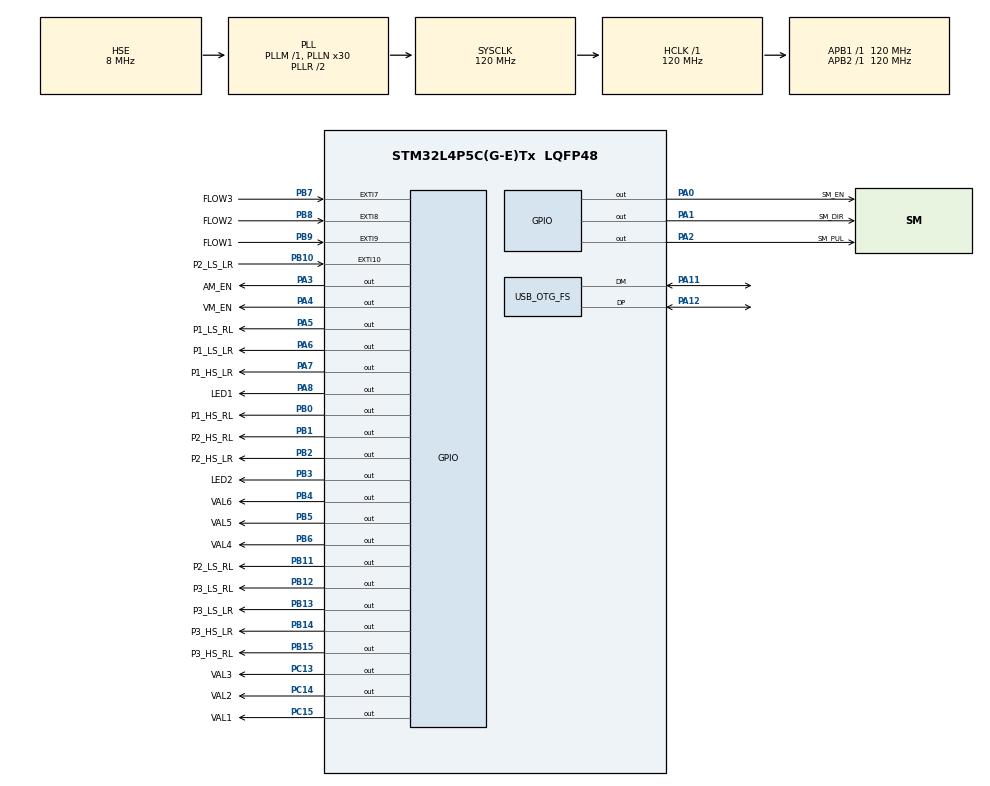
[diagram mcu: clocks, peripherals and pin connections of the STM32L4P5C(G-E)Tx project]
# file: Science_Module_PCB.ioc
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Mcu.Family=STM32L4
Mcu.Name=STM32L4P5C(G-E)Tx
Mcu.Package=LQFP48
NVIC.EXTI9_5_IRQn=true\:0\:0\:false\:false\:true\:true\:true\:true
NVIC.OTG_FS_IRQn=true\:0\:0\:false\:false\:true\:false\:true\:true
NVIC.PriorityGroup=NVIC_PRIORITYGROUP_4
NVIC.TIM6_DAC_IRQn=true\:0\:0\:false\:false\:true\:true\:true\:true
PA0.GPIO_Label=SM_EN
PA0.Signal=GPIO_Output
PA1.GPIO_Label=SM_DIR
PA1.Signal=GPIO_Output
PA11.Mode=Device_Only
PA11.Signal=USB_OTG_FS_DM
PA12.Mode=Device_Only
PA12.Signal=USB_OTG_FS_DP
PA13\ (JTMS/SWDIO).Mode=Serial_Wire
PA13\ (JTMS/SWDIO).Signal=SYS_JTMS-SWDIO
PA14\ (JTCK/SWCLK).Mode=Serial_Wire
PA14\ (JTCK/SWCLK).Signal=SYS_JTCK-SWCLK
PA2.GPIO_Label=SM_PUL
PA2.Signal=GPIO_Output
PA3.GPIO_Label=AM_EN
PA3.Signal=GPIO_Output
PA4.GPIO_Label=VM_EN
PA4.Signal=GPIO_Output
PA5.GPIO_Label=P1_LS_RL
PA5.Signal=GPIO_Output
PA6.GPIO_Label=P1_LS_LR
PA6.Signal=GPIO_Output
PA7.GPIO_Label=P1_HS_LR
PA7.Signal=GPIO_Output
PA8.GPIO_Label=LED1
PA8.Signal=GPIO_Output
PB0.GPIO_Label=P1_HS_RL
PB0.Signal=GPIO_Output
PB1.GPIO_Label=P2_HS_RL
PB1.Signal=GPIO_Output
PB10.GPIO_Label=P2_LS_LR
PB10.Signal=GPXTI10
PB11.GPIO_Label=P2_LS_RL
PB11.Signal=GPIO_Output
PB12.GPIO_Label=P3_LS_RL
PB12.Signal=GPIO_Output
PB13.GPIO_Label=P3_LS_LR
PB13.Signal=GPIO_Output
PB14.GPIO_Label=P3_HS_LR
PB14.Signal=GPIO_Output
PB15.GPIO_Label=P3_HS_RL
PB15.Signal=GPIO_Output
PB2.GPIO_Label=P2_HS_LR
PB2.Signal=GPIO_Output
PB3\ (JTDO/TRACESWO).GPIO_Label=LED2
PB3\ (JTDO/TRACESWO).Signal=GPIO_Output
PB4\ (NJTRST).GPIO_Label=VAL6
PB4\ (NJTRST).Signal=GPIO_Output
PB5.GPIO_Label=VAL5
PB5.Signal=GPIO_Output
PB6.GPIO_Label=VAL4
PB6.Signal=GPIO_Output
PB7.GPIO_Label=FLOW3
PB7.GPIO_ModeDefaultEXTI=GPIO_MODE_IT_RISING_FALLING
PB7.GPIO_PuPd=GPIO_PULLDOWN
PB7.Signal=GPXTI7
PB8.GPIO_Label=FLOW2
PB8.GPIO_ModeDefaultEXTI=GPIO_MODE_IT_RISING_FALLING
PB8.GPIO_PuPd=GPIO_PULLDOWN
PB8.Signal=GPXTI8
PB9.GPIO_Label=FLOW1
PB9.GPIO_ModeDefaultEXTI=GPIO_MODE_IT_RISING_FALLING
PB9.GPIO_PuPd=GPIO_PULLDOWN
PB9.Signal=GPXTI9
PC13.GPIO_Label=VAL3
PC13.Signal=GPIO_Output
PC14-OSC32_IN\ (PC14).GPIO_Label=VAL2
PC14-OSC32_IN\ (PC14).Signal=GPIO_Output
PC15-OSC32_OUT\ (PC15).GPIO_Label=VAL1
PC15-OSC32_OUT\ (PC15).Signal=GPIO_Output
PH0-OSC_IN\ (PH0).Mode=HSE-External-Oscillator
PH0-OSC_IN\ (PH0).Signal=RCC_OSC_IN
PH1-OSC_OUT\ (PH1).Mode=HSE-External-Oscillator
PH1-OSC_OUT\ (PH1).Signal=RCC_OSC_OUT
ProjectManager.HeapSize=0x200
ProjectManager.StackSize=0x400
ProjectManager.TargetToolchain=STM32CubeIDE
RCC.ADCFreq_Value=48000000
RCC.AHBFreq_Value=120000000
RCC.APB1Freq_Value=120000000
RCC.APB1TimFreq_Value=120000000
RCC.APB2Freq_Value=120000000
RCC.APB2TimFreq_Value=120000000
RCC.CortexFreq_Value=120000000
RCC.HCLKFreq_Value=120000000
RCC.HSE_VALUE=8000000
RCC.HSI48_VALUE=48000000
RCC.HSI_VALUE=16000000
RCC.LSE_VALUE=32768
RCC.MSI_VALUE=4000000
RCC.PLLN=30
RCC.PLLSAI1N=12
RCC.PLLSourceVirtual=RCC_PLLSOURCE_HSE
RCC.SYSCLKFreq_VALUE=120000000
RCC.SYSCLKSource=RCC_SYSCLKSOURCE_PLLCLK
RCC.USBFreq_Value=48000000
RCC.VCOOutputFreq_Value=240000000
TIM6.AutoReloadPreload=TIM_AUTORELOAD_PRELOAD_ENABLE
TIM6.Prescaler=119
USB_DEVICE.CLASS_NAME_FS=CDC
USB_DEVICE.VirtualMode=Cdc
USB_DEVICE.VirtualModeFS=Cdc_FS
USB_OTG_FS.VirtualMode=Device_Only
VP_TIM6_VS_ClockSourceINT.Mode=Enable_Timer
VP_USB_DEVICE_VS_USB_DEVICE_CDC_FS.Mode=CDC_FS
board=custom

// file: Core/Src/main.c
/* USER CODE BEGIN Header */
/**
  ******************************************************************************
  * @file           : main.c
  * @brief          : Main program body
  ******************************************************************************
  * @attention
  *
  * Copyright (c) 2025 STMicroelectronics.
  * All rights reserved.
  *
  * This software is licensed under terms that can be found in the LICENSE file
  * in the root directory of this software component.
  * If no LICENSE file comes with this software, it is provided AS-IS.
  *
  ******************************************************************************
  */
/* USER CODE END Header */
#include "main.h"
#include "usb_device.h"

/* USER CODE BEGIN Includes */
#include <stdio.h>
#include <stdlib.h>
#include <math.h>
#include <stdint.h>
#include "usb_device.h"
#include "usbd_cdc_if.h"
extern USBD_HandleTypeDef hUsbDeviceFS;

/* USER CODE END Includes */

/* USER CODE BEGIN PTD */
typedef struct {
  uint32_t pulse_duration;
  double flow_rate;
} flow_struct;

/* USER CODE END PTD */

/* USER CODE BEGIN PD */
#define NUM_PUMPS  3
/* USER CODE END PD */

TIM_HandleTypeDef htim6;

/* USER CODE BEGIN PV */
uint8_t LED1 = 0;
uint8_t LED2 = 0;
uint8_t Timer6_flag = 0;
uint32_t tim6_val = 0;
uint32_t tim6_overflow = 0;
uint32_t flow_start[3] = {0};

Pump_struct pump1, pump2, pump3;
flow_struct flow[3];
valve_struct valve[6];

/* USER CODE END PV */

void SystemClock_Config(void);
static void MX_GPIO_Init(void);
static void MX_TIM6_Init(void);
/* USER CODE BEGIN PFP */
// System functions
int _write(int,char*,int);
uint32_t Get_timer6_us(void);
static void DWT_DelayInit(void);
static inline void Delay_us(uint32_t);
// Pump
void PumpCtrl(void);
void PumpGPIO(uint8_t);
void BootstrapCharge(uint8_t, uint8_t);
void Pumpoff(uint8_t);
// Valve
void ValveCtrl(void);
void ValveGPIO(uint8_t, uint8_t);
// Flow sensor
void Readflow(void);
// Misc
void Update_LED(void);
void Timer6_test(void);

/* USER CODE END PFP */

int main(void)
{

  /* MCU Configuration--------------------------------------------------------*/

  /* Reset of all peripherals, Initializes the Flash interface and the Systick. */
  HAL_Init();

  /* Configure the system clock */
  SystemClock_Config();

  /* Initialize all configured peripherals */
  MX_GPIO_Init();
  MX_USB_DEVICE_Init();
  MX_TIM6_Init();
  /* USER CODE BEGIN 2 */
  DWT_DelayInit();
  HAL_Delay(1000);
  printf("> ");

  // begin timer6 ISR
  __HAL_TIM_CLEAR_FLAG(&htim6, TIM_FLAG_UPDATE);
  HAL_TIM_Base_Start_IT(&htim6);
  /* USER CODE END 2 */

  /* Infinite loop */
  /* USER CODE BEGIN WHILE */
  while (1)
  {

    Update_LED();
    PumpCtrl();
    ValveCtrl();
    Timer6_test();

    /* USER CODE END WHILE */

  }
}

void SystemClock_Config(void)
{
  RCC_OscInitTypeDef RCC_OscInitStruct = {0};
  RCC_ClkInitTypeDef RCC_ClkInitStruct = {0};

  /** Configure the main internal regulator output voltage
  */
  if (HAL_PWREx_ControlVoltageScaling(PWR_REGULATOR_VOLTAGE_SCALE1_BOOST) != HAL_OK)
  {
    Error_Handler();
  }

  /** Initializes the RCC Oscillators according to the specified parameters
  * in the RCC_OscInitTypeDef structure.
  */
  RCC_OscInitStruct.OscillatorType = RCC_OSCILLATORTYPE_HSE;
  RCC_OscInitStruct.HSEState = RCC_HSE_ON;
  RCC_OscInitStruct.PLL.PLLState = RCC_PLL_ON;
  RCC_OscInitStruct.PLL.PLLSource = RCC_PLLSOURCE_HSE;
  RCC_OscInitStruct.PLL.PLLM = 1;
  RCC_OscInitStruct.PLL.PLLN = 30;
  RCC_OscInitStruct.PLL.PLLP = RCC_PLLP_DIV2;
  RCC_OscInitStruct.PLL.PLLQ = RCC_PLLQ_DIV2;
  RCC_OscInitStruct.PLL.PLLR = RCC_PLLR_DIV2;
  if (HAL_RCC_OscConfig(&RCC_OscInitStruct) != HAL_OK)
  {
    Error_Handler();
  }

  /** Initializes the CPU, AHB and APB buses clocks
  */
  RCC_ClkInitStruct.ClockType = RCC_CLOCKTYPE_HCLK|RCC_CLOCKTYPE_SYSCLK
                              |RCC_CLOCKTYPE_PCLK1|RCC_CLOCKTYPE_PCLK2;
  RCC_ClkInitStruct.SYSCLKSource = RCC_SYSCLKSOURCE_PLLCLK;
  RCC_ClkInitStruct.AHBCLKDivider = RCC_SYSCLK_DIV1;
  RCC_ClkInitStruct.APB1CLKDivider = RCC_HCLK_DIV1;
  RCC_ClkInitStruct.APB2CLKDivider = RCC_HCLK_DIV1;

  if (HAL_RCC_ClockConfig(&RCC_ClkInitStruct, FLASH_LATENCY_5) != HAL_OK)
  {
    Error_Handler();
  }
}

static void MX_TIM6_Init(void)
{

  TIM_MasterConfigTypeDef sMasterConfig = {0};

  htim6.Instance = TIM6;
  htim6.Init.Prescaler = 119;
  htim6.Init.CounterMode = TIM_COUNTERMODE_UP;
  htim6.Init.Period = 65535;
  htim6.Init.AutoReloadPreload = TIM_AUTORELOAD_PRELOAD_ENABLE;
  if (HAL_TIM_Base_Init(&htim6) != HAL_OK)
  {
    Error_Handler();
  }
  sMasterConfig.MasterOutputTrigger = TIM_TRGO_RESET;
  sMasterConfig.MasterSlaveMode = TIM_MASTERSLAVEMODE_DISABLE;
  if (HAL_TIMEx_MasterConfigSynchronization(&htim6, &sMasterConfig) != HAL_OK)
  {
    Error_Handler();
  }

}

static void MX_GPIO_Init(void)
{
  GPIO_InitTypeDef GPIO_InitStruct = {0};

  /* GPIO Ports Clock Enable */
  __HAL_RCC_GPIOC_CLK_ENABLE();
  __HAL_RCC_GPIOH_CLK_ENABLE();
  __HAL_RCC_GPIOA_CLK_ENABLE();
  __HAL_RCC_GPIOB_CLK_ENABLE();

  /*Configure GPIO pin Output Level */
  HAL_GPIO_WritePin(GPIOC, VAL3_Pin|VAL2_Pin|VAL1_Pin, GPIO_PIN_RESET);

  /*Configure GPIO pin Output Level */
  HAL_GPIO_WritePin(GPIOA, SM_EN_Pin|SM_DIR_Pin|SM_PUL_Pin|AM_EN_Pin
                          |VM_EN_Pin|P1_LS_RL_Pin|P1_LS_LR_Pin|P1_HS_LR_Pin
                          |LED1_Pin, GPIO_PIN_RESET);

  /*Configure GPIO pin Output Level */
  HAL_GPIO_WritePin(GPIOB, P1_HS_RL_Pin|P2_HS_RL_Pin|P2_HS_LR_Pin|P2_LS_RL_Pin
                          |P3_LS_RL_Pin|P3_LS_LR_Pin|P3_HS_LR_Pin|P3_HS_RL_Pin
                          |LED2_Pin|VAL6_Pin|VAL5_Pin|VAL4_Pin, GPIO_PIN_RESET);

  /*Configure GPIO pins : VAL3_Pin VAL2_Pin VAL1_Pin */
  GPIO_InitStruct.Pin = VAL3_Pin|VAL2_Pin|VAL1_Pin;
  GPIO_InitStruct.Mode = GPIO_MODE_OUTPUT_PP;
  GPIO_InitStruct.Pull = GPIO_NOPULL;
  GPIO_InitStruct.Speed = GPIO_SPEED_FREQ_LOW;
  HAL_GPIO_Init(GPIOC, &GPIO_InitStruct);

  /*Configure GPIO pins : SM_EN_Pin SM_DIR_Pin SM_PUL_Pin AM_EN_Pin
                           VM_EN_Pin P1_LS_RL_Pin P1_LS_LR_Pin P1_HS_LR_Pin
                           LED1_Pin */
  GPIO_InitStruct.Pin = SM_EN_Pin|SM_DIR_Pin|SM_PUL_Pin|AM_EN_Pin
                          |VM_EN_Pin|P1_LS_RL_Pin|P1_LS_LR_Pin|P1_HS_LR_Pin
                          |LED1_Pin;
  GPIO_InitStruct.Mode = GPIO_MODE_OUTPUT_PP;
  GPIO_InitStruct.Pull = GPIO_NOPULL;
  GPIO_InitStruct.Speed = GPIO_SPEED_FREQ_LOW;
  HAL_GPIO_Init(GPIOA, &GPIO_InitStruct);

  /*Configure GPIO pins : P1_HS_RL_Pin P2_HS_RL_Pin P2_HS_LR_Pin P2_LS_RL_Pin
                           P3_LS_RL_Pin P3_LS_LR_Pin P3_HS_LR_Pin P3_HS_RL_Pin
                           LED2_Pin VAL6_Pin VAL5_Pin VAL4_Pin */
  GPIO_InitStruct.Pin = P1_HS_RL_Pin|P2_HS_RL_Pin|P2_HS_LR_Pin|P2_LS_RL_Pin
                          |P3_LS_RL_Pin|P3_LS_LR_Pin|P3_HS_LR_Pin|P3_HS_RL_Pin
                          |LED2_Pin|VAL6_Pin|VAL5_Pin|VAL4_Pin;
  GPIO_InitStruct.Mode = GPIO_MODE_OUTPUT_PP;
  GPIO_InitStruct.Pull = GPIO_NOPULL;
  GPIO_InitStruct.Speed = GPIO_SPEED_FREQ_LOW;
  HAL_GPIO_Init(GPIOB, &GPIO_InitStruct);

  /*Configure GPIO pin : P2_LS_LR_Pin */
  GPIO_InitStruct.Pin = P2_LS_LR_Pin;
  GPIO_InitStruct.Mode = GPIO_MODE_IT_RISING;
  GPIO_InitStruct.Pull = GPIO_NOPULL;
  HAL_GPIO_Init(P2_LS_LR_GPIO_Port, &GPIO_InitStruct);

  /*Configure GPIO pins : FLOW3_Pin FLOW2_Pin FLOW1_Pin */
  GPIO_InitStruct.Pin = FLOW3_Pin|FLOW2_Pin|FLOW1_Pin;
  GPIO_InitStruct.Mode = GPIO_MODE_IT_RISING_FALLING;
  GPIO_InitStruct.Pull = GPIO_PULLDOWN;
  HAL_GPIO_Init(GPIOB, &GPIO_InitStruct);

  /* EXTI interrupt init*/
  HAL_NVIC_SetPriority(EXTI9_5_IRQn, 0, 0);
  HAL_NVIC_EnableIRQ(EXTI9_5_IRQn);

}

/* USER CODE BEGIN 4 */
/************************ SYSTEM FUNCTIONS (ISR) ************************/
int _write(int file, char *ptr, int len)
{
  CDC_Transmit_FS((uint8_t*)ptr, len);
  return len;
}

static void DWT_DelayInit(void)
{
    CoreDebug->DEMCR   |= CoreDebug_DEMCR_TRCENA_Msk;
    DWT->CTRL         |= DWT_CTRL_CYCCNTENA_Msk;
}

// Delay in microseconds
static inline void Delay_us(uint32_t us)
{
    uint32_t start = DWT->CYCCNT;
    uint32_t ticks = us * (HAL_RCC_GetHCLKFreq()/1000000);
    while ((DWT->CYCCNT - start) < ticks);
}

// INTERRUPT CALLBACKS
void HAL_TIM_PeriodElapsedCallback(TIM_HandleTypeDef *htim) {
  if (htim == &htim6) //check if timer6 IT flag
  {
    tim6_overflow++;
  }
}

// GPIO EXTI CALLBACKS
void HAL_GPIO_EXTI_Callback(uint16_t GPIO_Pin)
{
  // Rising / Falling edge
  if (GPIO_Pin == FLOW1_Pin)
  {
    if (HAL_GPIO_ReadPin(GPIOB, FLOW1_Pin))
    {
      flow_start[0] = Get_timer6_us();
    }
    else
    {
      flow[0].pulse_duration = Get_timer6_us() - flow_start[0];
    }
  }
  if (GPIO_Pin == FLOW2_Pin)
  {
    if (HAL_GPIO_ReadPin(GPIOB, FLOW2_Pin))
    {
      flow_start[1] = Get_timer6_us();
    }
    else
    {
      flow[1].pulse_duration = Get_timer6_us() - flow_start[1];
    }
  }
  if (GPIO_Pin == FLOW3_Pin)
  {
    if (HAL_GPIO_ReadPin(GPIOB, FLOW3_Pin))
    {
      flow_start[2] = Get_timer6_us();
    }
    else
    {
      flow[2].pulse_duration = Get_timer6_us() - flow_start[2];
    }
  }
}

/************************ HELPER FUNCTIONS ************************/

void Update_LED(void)
{
  if (LED1) HAL_GPIO_WritePin(GPIOA, LED1_Pin, 1);
  else HAL_GPIO_WritePin(GPIOA, LED1_Pin, 0);
  if (LED2) HAL_GPIO_WritePin(GPIOB, LED2_Pin, 1);
  else HAL_GPIO_WritePin(GPIOB, LED2_Pin, 0);
}

void Timer6_test(void)
{
  if (Timer6_flag)
  {
    tim6_val = Get_timer6_us();
    while(Get_timer6_us() - tim6_val < 10e6);
    printf("10 seconds reached\r\n");
    LED2 = 1;
    Timer6_flag = 0;
  }
}

uint32_t Get_timer6_us(void)
{
  int temp = __HAL_TIM_GET_COUNTER(&htim6);
  return tim6_overflow * 65536 + temp;
}

void PumpCtrl(void)
{
  if (pump1.status)
  {
    if (Get_timer6_us() - pump1.start_us < pump1.duration_us)
    {
      PumpGPIO(3);
      LED2 = 1;
    }
    else
    {
      LED2 = 0;
      pump1.status = 0;
      pump1.start_us = 0;
      pump1.duration_us = 0;
      Pumpoff(3);
      printf("Pump 1 done!\r\n");
    }
  }

  if (pump2.status)
  {
    if (Get_timer6_us() - pump2.start_us < pump2.duration_us)
    {
      PumpGPIO(3);
      LED2 = 1;
    }
    else
    {
      LED2 = 0;
      pump2.status = 0;
      pump2.start_us = 0;
      pump2.duration_us = 0;
      Pumpoff(3);
      printf("Pump 2 done!\r\n");
    }
  }

  if (pump3.status)
  {
    if (Get_timer6_us() - pump3.start_us < pump3.duration_us)
    {
      Readflow();
      PumpGPIO(3);
      LED2 = 1;
    }
    else
    {
      LED2 = 0;
      pump3.status = 0;
      // pump3.start_us = 0;
      pump3.duration_us = 0;
      Pumpoff(3);
      // printf("Pump 3 done!\r\n");
      printf("Start time: %ld, End time: %ld, Difference: %ld\r\n", pump3.start_us, Get_timer6_us(), Get_timer6_us()-pump3.start_us);
    }
  }
}

void PumpGPIO(uint8_t pumpnum)
{
  switch(pumpnum)
  {
    case 1:
        // Precharging bootstrap capacitor
        Pumpoff(1);
        BootstrapCharge(1,pump1.dir);
        Delay_us(1);
        Pumpoff(1);
        if (pump1.dir) // 1 is LR
        {
          HAL_GPIO_WritePin(GPIOA, P1_LS_LR_Pin, 1);
          HAL_GPIO_WritePin(GPIOA, P1_HS_LR_Pin, 1);
        }
        else
        {
          HAL_GPIO_WritePin(GPIOA, P1_LS_RL_Pin, 1);
          HAL_GPIO_WritePin(GPIOB, P1_HS_RL_Pin, 1);
        }
      break;

    case 2:
      // Precharging bootstrap capacitor
      Pumpoff(2);
      BootstrapCharge(2,pump2.dir);
      Delay_us(1);
      Pumpoff(2);
      if (pump2.dir) // 1 is LR
      {
        HAL_GPIO_WritePin(GPIOB, P2_LS_LR_Pin, 1);
        HAL_GPIO_WritePin(GPIOB, P2_HS_LR_Pin, 1);
      }
      else
      {
        HAL_GPIO_WritePin(GPIOB, P2_LS_RL_Pin, 1);
        HAL_GPIO_WritePin(GPIOB, P2_HS_RL_Pin, 1);
      }
      break;

    case 3:
      // Precharging bootstrap capacitor
      Pumpoff(3);
      BootstrapCharge(3,pump3.dir);
      Delay_us(1);
      Pumpoff(3);

      if (pump3.dir) // 1 is LR
      {
        HAL_GPIO_WritePin(GPIOB, P3_LS_LR_Pin, 1);
        HAL_GPIO_WritePin(GPIOB, P3_HS_LR_Pin, 1);
      }
      else
      {
        HAL_GPIO_WritePin(GPIOB, P3_LS_RL_Pin, 1);
        HAL_GPIO_WritePin(GPIOB, P3_HS_RL_Pin, 1);
      }
      break;
  }
}

void BootstrapCharge(uint8_t pumpnum, uint8_t dir)
{
  switch(pumpnum)
  {
    case 1:
      break;
    case 2:
      break;
    case 3:
      if (dir) HAL_GPIO_WritePin(GPIOB, P3_LS_LR_Pin, 1);
      else HAL_GPIO_WritePin(GPIOB, P3_LS_RL_Pin, 1);
      break;
  }
}

void Pumpoff(uint8_t pumpnum)
{
  switch(pumpnum)
  {
    case 1:
      HAL_GPIO_WritePin(GPIOA, P1_LS_RL_Pin, 0);
      HAL_GPIO_WritePin(GPIOA, P1_LS_LR_Pin, 0);
      HAL_GPIO_WritePin(GPIOA, P1_HS_LR_Pin, 0);
      HAL_GPIO_WritePin(GPIOB, P1_HS_RL_Pin, 0);
      break;

    case 2:
      HAL_GPIO_WritePin(GPIOB, P2_LS_RL_Pin, 0);
      HAL_GPIO_WritePin(GPIOB, P2_LS_LR_Pin, 0);
      HAL_GPIO_WritePin(GPIOB, P2_HS_LR_Pin, 0);
      HAL_GPIO_WritePin(GPIOB, P2_HS_RL_Pin, 0);
      break;

    case 3:
      HAL_GPIO_WritePin(GPIOB, P3_LS_RL_Pin, 0);
      HAL_GPIO_WritePin(GPIOB, P3_LS_LR_Pin, 0);
      HAL_GPIO_WritePin(GPIOB, P3_HS_LR_Pin, 0);
      HAL_GPIO_WritePin(GPIOB, P3_HS_RL_Pin, 0);
      break;
  }
}

void Readflow(void)
{
  // pulse vs flow rate eq: flow_rate = (9*pulse + 800) / (640)
  for (uint8_t i = 0; i < 3; i++)
  {
    flow[i].flow_rate = (9 * flow[i].pulse_duration + 800) / 640;

  }
  printf("1:%.3f 2:%.3f 3:%.3f       \r\n", flow[0].flow_rate, flow[1].flow_rate, flow[2].flow_rate);
}

void ValveCtrl(void)
{
  for (uint8_t i = 0; i < 6; i++)
  {
    if (valve[i].status)
    {
      if (Get_timer6_us()-valve[i].start_us < valve[i].duration_us)
      {
        ValveGPIO(i+1,1);
        LED1 = 1;
      }
      else
      {
        LED1 = 0;
        valve[i].status = 0;
        valve[i].start_us = 0;
        valve[i].duration_us = 0;
        ValveGPIO(i+1,0);
        printf("Valve %d stopped\r\n", i+1);
      }
    }
  }
}

void ValveGPIO(uint8_t valvenum, uint8_t state)
{
  switch(valvenum){
    case 1:
      if (state)  HAL_GPIO_WritePin(GPIOC, VAL1_Pin,1);
      else        HAL_GPIO_WritePin(GPIOC, VAL1_Pin,0);
      break;
    case 2:
      if (state)  HAL_GPIO_WritePin(GPIOC, VAL2_Pin,1);
      else        HAL_GPIO_WritePin(GPIOC, VAL2_Pin,0);
      break;
    case 3:
      if (state)  HAL_GPIO_WritePin(GPIOC, VAL3_Pin,1);
      else        HAL_GPIO_WritePin(GPIOC, VAL3_Pin,0);
      break;
    case 4:
      if (state)  HAL_GPIO_WritePin(GPIOB, VAL4_Pin,1);
      else        HAL_GPIO_WritePin(GPIOB, VAL4_Pin,0);
      break;
    case 5:
      if (state)  HAL_GPIO_WritePin(GPIOB, VAL5_Pin,1);
      else        HAL_GPIO_WritePin(GPIOB, VAL5_Pin,0);
      break;
    case 6:
      if (state)  HAL_GPIO_WritePin(GPIOB, VAL6_Pin,1);
      else        HAL_GPIO_WritePin(GPIOB, VAL6_Pin,0);
      break;
  }
}

/* USER CODE END 4 */

void Error_Handler(void)
{
  __disable_irq();
  while (1)
  {
  }
}
